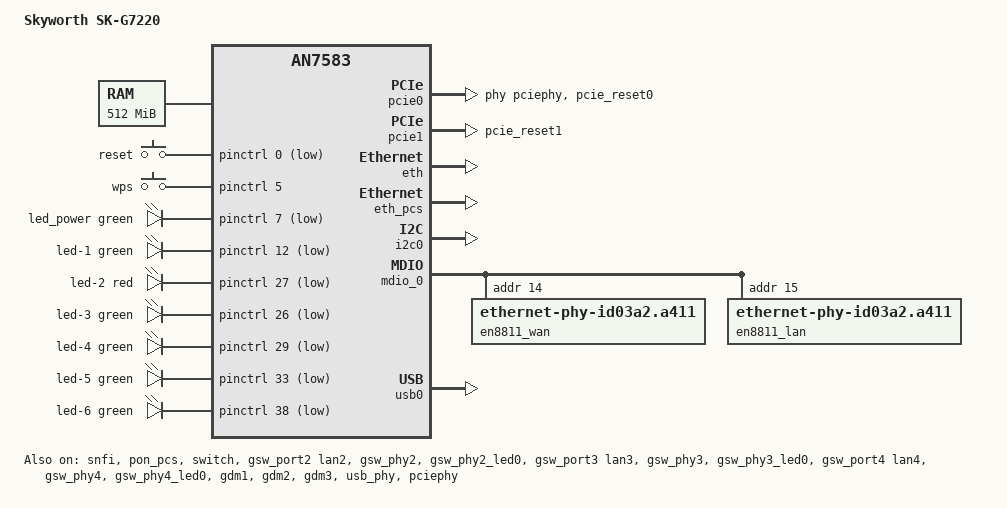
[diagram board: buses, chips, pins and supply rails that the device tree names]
// SPDX-License-Identifier: GPL-2.0-only OR MIT
/*
 * Device Tree for Skyworth SK-G7220 (Airoha AN7553 / AN7583)
 *
 * Hardware features:
 * - SoC: Airoha AN7553 (2x Cortex-A53 @ 1.2GHz, 512 MiB RAM)
 * - Flash: Foresee F35SQB002G SPI-NAND (256 MiB)
 * - Ethernet:
 *   - 2.5G WAN: Airoha EN8811H PHY 14 (MDIO 0x0e) on gdm2 (2500base-x)
 *   - 2.5G LAN1: Airoha EN8811H PHY 15 (MDIO 0x0f) on gdm3 (2500base-x)
 *   - 1G LAN2-4: Internal switch ports 2, 3, 4 (gsw_port2-4)
 * - Wi-Fi 7: MediaTek MT7992 (BE6500)
 *   - Main radio: PCIe Gen3 (pcie1)
 *   - HIF2: PCIe Gen2 (pcie0)
 *   - Calibration: art partition offset 0x40000
 * - LEDs: Power (GPIO 7), PON (GPIO 12), LOS (GPIO 27), Internet (GPIO 26),
 *         VoIP (GPIO 29), Wi-Fi (GPIO 33), USB (GPIO 38)
 * - Buttons: Reset (GPIO 0), WPS (GPIO 5)
 */

/dts-v1/;

#include <dt-bindings/leds/common.h>
#include <dt-bindings/gpio/gpio.h>
#include <dt-bindings/input/input.h>
#include "an7583.dtsi"

/ {
	model = "Skyworth SK-G7220";
	compatible = "skyworth,sk-g7220", "airoha,an7583";

	aliases {
		serial0 = &uart1;
		led-boot = &led_power;
		led-failsafe = &led_power;
		led-running = &led_power;
		led-upgrade = &led_power;
	};

	chosen {
		bootargs = "console=ttyS0,115200 earlycon";
		stdout-path = "serial0:115200n8";
		linux,usable-memory-range = <0x0 0x80200000 0x0 0x1fe00000>;
	};

	memory@80000000 {
		device_type = "memory";
		reg = <0x0 0x80000000 0x0 0x20000000>;
	};

	gpio-keys {
		compatible = "gpio-keys";

		button-restart {
			label = "reset";
			linux,code = <KEY_RESTART>;
			gpios = <&pinctrl 0 GPIO_ACTIVE_LOW>;
			debounce-interval = <60>;
		};

		button-wps {
			label = "wps";
			linux,code = <KEY_WPS_BUTTON>;
			gpios = <&pinctrl 5 GPIO_ACTIVE_HIGH>;
			debounce-interval = <60>;
		};
	};

	leds {
		compatible = "gpio-leds";

		led_power: led-0 {
			color = <LED_COLOR_ID_GREEN>;
			function = LED_FUNCTION_POWER;
			gpios = <&pinctrl 7 GPIO_ACTIVE_LOW>;
			default-state = "on";
		};

		led-1 {
			color = <LED_COLOR_ID_GREEN>;
			function = LED_FUNCTION_WAN;
			gpios = <&pinctrl 12 GPIO_ACTIVE_LOW>;
		};

		led-2 {
			color = <LED_COLOR_ID_RED>;
			function = LED_FUNCTION_FAULT;
			gpios = <&pinctrl 27 GPIO_ACTIVE_LOW>;
		};

		led-3 {
			color = <LED_COLOR_ID_GREEN>;
			function = LED_FUNCTION_WAN_ONLINE;
			gpios = <&pinctrl 26 GPIO_ACTIVE_LOW>;
		};

		led-4 {
			color = <LED_COLOR_ID_GREEN>;
			function = LED_FUNCTION_STATUS;
			gpios = <&pinctrl 29 GPIO_ACTIVE_LOW>;
		};

		led-5 {
			color = <LED_COLOR_ID_GREEN>;
			function = LED_FUNCTION_WLAN;
			gpios = <&pinctrl 33 GPIO_ACTIVE_LOW>;
		};

		led-6 {
			color = <LED_COLOR_ID_GREEN>;
			function = LED_FUNCTION_USB;
			gpios = <&pinctrl 38 GPIO_ACTIVE_LOW>;
			linux,default-trigger = "usbport";
			trigger-sources = <&usb_port1>, <&usb_port2>;
		};
	};
};

&pinctrl {
	gpio-ranges = <&pinctrl 0 2 53>;

	mdio0_pins: mdio0-pins {
		mux {
			function = "mdio";
			groups = "mdio";
		};
		conf {
			pins = "mdio_0";
			output-high;
		};
	};

	spi_pins: spi-pins {
		mux {
			function = "spi";
			groups = "spi";
		};
	};

	pcie0_rst_pins: pcie0-rst-pins {
		conf {
			pins = "pcie_reset0";
			drive-open-drain = <1>;
		};
	};

	pcie1_rst_pins: pcie1-rst-pins {
		conf {
			pins = "pcie_reset1";
			drive-open-drain = <1>;
		};
	};

	gswp2_led0_pins: gswp2-led0-pins {
		mux {
			function = "phy2_led0";
			pins = "gpio2";
		};
	};

	gswp3_led0_pins: gswp3-led0-pins {
		mux {
			function = "phy3_led0";
			pins = "gpio3";
		};
	};

	gswp4_led0_pins: gswp4-led0-pins {
		mux {
			function = "phy4_led0";
			pins = "gpio4";
		};
	};
};

&snfi {
	pinctrl-names = "default";
	pinctrl-0 = <&spi_pins>;
	status = "okay";
};

&spi_nand {
	/* Foresee F35SQB002G, 256 MiB, 2 KiB pages, 128 KiB blocks */
	nand-ecc-mode = "none";
	nand-ecc-step-size = <2048>;
	nand-ecc-strength = <0>;

	partitions {
		compatible = "fixed-partitions";
		#address-cells = <1>;
		#size-cells = <1>;

		partition@0 {
			label = "bootloader";
			reg = <0x0 0x80000>;
			read-only;
		};

		partition@80000 {
			label = "kernel";
			reg = <0x80000 0x700000>;
		};

		partition@780000 {
			label = "filesystem";
			reg = <0x780000 0x4400000>;
		};

		partition@4b80000 {
			label = "kernel_slave";
			reg = <0x4b80000 0x700000>;
		};

		partition@5280000 {
			label = "filesystem_slave";
			reg = <0x5280000 0x4400000>;
		};

		partition@9680000 {
			label = "rootfs_data";
			reg = <0x9680000 0x800000>;
		};

		partition@9e80000 {
			label = "ubifs";
			reg = <0x9e80000 0x2000000>;
		};

		partition@be80000 {
			label = "others";
			reg = <0xbe80000 0x200000>;
			read-only;
		};

		art: partition@dc80000 {
			label = "art";
			reg = <0xdc80000 0x380000>;
			read-only;

			nvmem-layout {
				compatible = "fixed-layout";
				#address-cells = <1>;
				#size-cells = <1>;

				macaddr_art_0: macaddr@0 {
					reg = <0x0 0x11>;
				};

				cal_art_40000: cal@40000 {
					reg = <0x40000 0x15c000>;
				};
			};
		};
	};
};

&eth {
	status = "okay";
};

&eth_pcs {
	status = "okay";
};

&pon_pcs {
	status = "okay";
};

&i2c0 {
	/* EN7571 BOSA */
	status = "okay";
};

&switch {
	status = "okay";
	pinctrl-names = "default";
	pinctrl-0 = <&mdio0_pins>;
};

&gsw_port2 {
	status = "okay";
	label = "lan2";
};

&gsw_phy2 {
	status = "okay";
	interrupts = <2>;
	pinctrl-names = "gbe-led";
	pinctrl-0 = <&gswp2_led0_pins>;
};

&gsw_phy2_led0 {
	status = "okay";
	color = <LED_COLOR_ID_GREEN>;
	active-low;
};

&gsw_port3 {
	status = "okay";
	label = "lan3";
};

&gsw_phy3 {
	status = "okay";
	interrupts = <3>;
	pinctrl-names = "gbe-led";
	pinctrl-0 = <&gswp3_led0_pins>;
};

&gsw_phy3_led0 {
	status = "okay";
	color = <LED_COLOR_ID_GREEN>;
	active-low;
};

&gsw_port4 {
	status = "okay";
	label = "lan4";
};

&gsw_phy4 {
	status = "okay";
	interrupts = <4>;
	pinctrl-names = "gbe-led";
	pinctrl-0 = <&gswp4_led0_pins>;
};

&gsw_phy4_led0 {
	status = "okay";
	color = <LED_COLOR_ID_GREEN>;
	active-low;
};

&mdio_0 {
	#address-cells = <1>;
	#size-cells = <0>;

	en8811_wan: ethernet-phy@e {
		compatible = "ethernet-phy-id03a2.a411";
		reg = <0xe>;
	};

	en8811_lan: ethernet-phy@f {
		compatible = "ethernet-phy-id03a2.a411";
		reg = <0xf>;
	};
};

&gdm1 {
	status = "okay";
};

&gdm2 {
	status = "okay";
	openwrt,netdev-name = "wan";
	phy-handle = <&en8811_wan>;
	phy-mode = "2500base-x";
};

&gdm3 {
	status = "okay";
	openwrt,netdev-name = "lan1";
	phy-handle = <&en8811_lan>;
	phy-mode = "2500base-x";
};

&usb_phy {
	status = "okay";
};

&usb0 {
	status = "okay";

	#address-cells = <1>;
	#size-cells = <0>;

	usb_port1: port@1 {
		reg = <1>;
		#trigger-source-cells = <0>;
	};

	usb_port2: port@2 {
		reg = <2>;
		#trigger-source-cells = <0>;
	};
};

/ {
	soc {
		pciephy: phy@1fc7f000 {
			compatible = "airoha,an7583-pcie-gen3-phy";
			reg = <0x0 0x1fc7f000 0x0 0x1000>,
			      <0x0 0x1fc7e000 0x0 0x1000>,
			      <0x0 0x1fc10044 0x0 0x4>,
			      <0x0 0x1fc15030 0x0 0x4>;
			reg-names = "g3-ana", "g3-pma", "xr-dtime", "rx-aeq";
			#phy-cells = <0>;
			status = "okay";
		};

		pcie0: pcie@1fc20000 {
			compatible = "airoha,en7581-pcie";
			device_type = "pci";
			linux,pci-domain = <0>;
			#address-cells = <3>;
			#size-cells = <2>;

			reg = <0x0 0x1fc20000 0x0 0x20000>;
			reg-names = "pcie-mac";

			clocks = <&scuclk EN7523_CLK_PCIE>;
			clock-names = "sys-ck";

			pinctrl-names = "default";
			pinctrl-0 = <&pcie0_rst_pins>;

			phys = <&pciephy>;
			phy-names = "pcie-phy";

			resets = <&scuclk AN7583_PCIE0_RST>;
			reset-names = "phy-lane0";

			ranges = <0x02000000 0 0x20000000 0x0 0x20000000 0 0x4000000>;

			mediatek,pbus-csr = <&pbus_csr 0x0 0x4>;

			interrupts = <GIC_SPI 39 IRQ_TYPE_LEVEL_HIGH>;
			bus-range = <0x00 0xff>;
			#interrupt-cells = <1>;
			interrupt-map-mask = <0 0 0 7>;
			interrupt-map = <0 0 0 1 &pcie_intc0 0>,
					<0 0 0 2 &pcie_intc0 1>,
					<0 0 0 3 &pcie_intc0 2>,
					<0 0 0 4 &pcie_intc0 3>;

			status = "okay";

			pcie_intc0: interrupt-controller {
				interrupt-controller;
				#address-cells = <0>;
				#interrupt-cells = <1>;
			};

			pcie@0,0 {
				reg = <0x0000 0 0 0 0>;
				#address-cells = <3>;
				#size-cells = <2>;
				ranges;

				wifi@0,0 {
					reg = <0x0000 0 0 0 0>;
				};
			};
		};

		pcie1: pcie@1fa92000 {
			compatible = "airoha,en7523-pcie", "mediatek,mt7622-pcie";
			device_type = "pci";
			linux,pci-domain = <1>;
			#address-cells = <3>;
			#size-cells = <2>;

			reg = <0x0 0x1fa92000 0x0 0x1000>;
			reg-names = "port1";

			clocks = <&scuclk EN7523_CLK_PCIE>;
			clock-names = "sys_ck1";

			pinctrl-names = "default";
			pinctrl-0 = <&pcie1_rst_pins>;

			resets = <&scuclk AN7583_PCIE1_RST>;
			reset-names = "pcie-rst1";

			ranges = <0x82000000 0 0x24000000 0x0 0x24000000 0 0x4000000>;

			mediatek,pbus-csr = <&pbus_csr 0x8 0xc>;

			interrupts = <GIC_SPI 40 IRQ_TYPE_LEVEL_HIGH>;
			interrupt-names = "pcie_irq";
			bus-range = <0x00 0xff>;
			#interrupt-cells = <1>;
			interrupt-map-mask = <0 0 0 7>;
			interrupt-map = <0 0 0 1 &pcie_intc1 0>,
					<0 0 0 2 &pcie_intc1 1>,
					<0 0 0 3 &pcie_intc1 2>,
					<0 0 0 4 &pcie_intc1 3>;

			status = "okay";

			pcie_intc1: interrupt-controller {
				interrupt-controller;
				#address-cells = <0>;
				#interrupt-cells = <1>;
			};

			pcie@0,0 {
				reg = <0x0000 0 0 0 0>;
				#address-cells = <3>;
				#size-cells = <2>;
				ranges;

				wifi@0,0 {
					reg = <0x0000 0 0 0 0>;
					nvmem-cells = <&macaddr_art_0>, <&cal_art_40000>;
					nvmem-cell-names = "mac-address", "eeprom";
				};
			};
		};
	};
};
